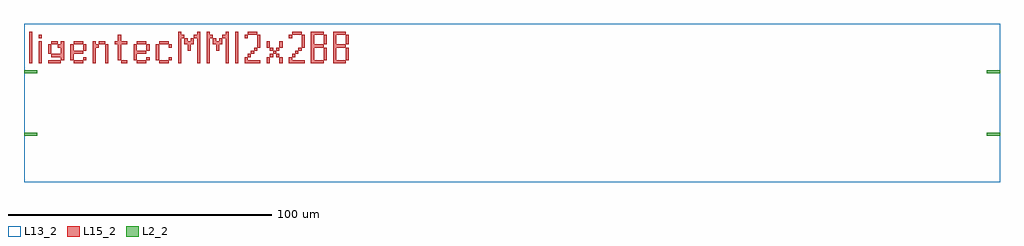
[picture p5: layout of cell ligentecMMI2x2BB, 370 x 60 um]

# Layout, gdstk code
import gdstk
lib = gdstk.Library(unit=1e-6, precision=1e-09)
def R(c, l, rs):  # rectangles x0, y0, x1, y1
    for r in rs: c.add(gdstk.rectangle(r[:2], r[2:], *l))
def A(c, l, x, y, w, h, nx, ny, dx, dy):  # array of equal rectangles
    R(c, l, [(x+i*dx, y+j*dy, x+i*dx+w, y+j*dy+h) for i in range(nx) for j in range(ny)])
L2_2 = (2, 2)
L13_2 = (13, 2)
L15_2 = (15, 2)

ligentecmmi2x2bb = lib.new_cell('ligentecMMI2x2BB')
R(ligentecmmi2x2bb, L2_2, [(-5,-0.5,0,0.5), (360,-0.5,365,0.5), (-5,23.24,0,24.24), (360,23.24,365,24.24)])
R(ligentecmmi2x2bb, L13_2, [(-5,-18.13,365,41.87)])
A(ligentecmmi2x2bb, L15_2, 13.8, 26.87, 3.6, 1.2, 1, 3, 0, 3.6)
A(ligentecmmi2x2bb, L15_2, 37.8, 26.87, 3.6, 1.2, 1, 3, 0, 3.6)
A(ligentecmmi2x2bb, L15_2, 81, 30.47, 1.2, 1.2, 3, 1, 8.4, 0)
A(ligentecmmi2x2bb, L15_2, 96.6, 37.67, 3.6, 1.2, 3, 1, 8.4, 0)
R(ligentecmmi2x2bb, L15_2, [(-3,26.87,-1.8,38.87), (0.6,26.87,1.8,35.27), (4.2,26.87,9,28.07), (21,26.87,22.2,35.27), (25.8,26.87,27,34.07), (31.8,26.87,34.2,28.07), (46.2,26.87,49.8,28.07), (53.4,26.87,54.6,38.87), (60.6,26.87,61.8,38.87), (64.2,26.87,65.4,38.87), (71.4,26.87,72.6,38.87), (75,26.87,76.2,38.87), (78.6,26.87,79.8,29.27), (79.8,26.87,84.6,28.07), (87,26.87,88.2,29.27), (91.8,26.87,93,29.27), (95.4,26.87,96.6,29.27), (96.6,26.87,101.4,28.07), (103.8,26.87,105,38.87), (105,26.87,108.6,28.07), (112.2,26.87,113.4,38.87), (113.4,26.87,117,28.07), (9,28.07,10.2,35.27), (12.6,28.07,13.8,34.07), (17.4,28.07,18.6,29.27), (30.6,28.07,31.8,37.67), (36.6,28.07,37.8,34.07), (41.4,28.07,42.6,29.27), (45,28.07,46.2,34.07), (49.8,28.07,51,29.27), (108.6,28.07,109.8,32.87), (117,28.07,118.2,32.87), (5.4,29.27,9,30.47), (79.8,29.27,81,30.47), (88.2,29.27,89.4,30.47), (90.6,29.27,91.8,30.47), (96.6,29.27,97.8,30.47), (4.2,30.47,5.4,34.07), (17.4,31.67,18.6,34.07), (41.4,31.67,42.6,34.07), (57,31.67,58.2,35.27), (67.8,31.67,69,35.27), (82.2,31.67,83.4,32.87), (88.2,31.67,89.4,32.87), (90.6,31.67,91.8,32.87), (99,31.67,100.2,32.87), (7.8,32.87,9,34.07), (22.2,32.87,23.4,34.07), (49.8,32.87,51,34.07), (83.4,32.87,84.6,37.67), (87,32.87,88.2,35.27), (91.8,32.87,93,35.27), (100.2,32.87,101.4,37.67), (105,32.87,108.6,34.07), (113.4,32.87,117,34.07), (5.4,34.07,7.8,35.27), (23.4,34.07,25.8,35.27), (29.4,34.07,30.6,35.27), (31.8,34.07,34.2,35.27), (46.2,34.07,49.8,35.27), (55.8,34.07,57,36.47), (58.2,34.07,59.4,36.47), (66.6,34.07,67.8,36.47), (69,34.07,70.2,36.47), (108.6,34.07,109.8,37.67), (117,34.07,118.2,37.67), (0.6,36.47,1.8,37.67), (54.6,36.47,55.8,37.67), (59.4,36.47,60.6,37.67), (65.4,36.47,66.6,37.67), (70.2,36.47,71.4,37.67), (78.6,36.47,79.8,37.67), (95.4,36.47,96.6,37.67), (79.8,37.67,83.4,38.87)])

lib.write_gds('ligentecMMI2x2BB.gds')
